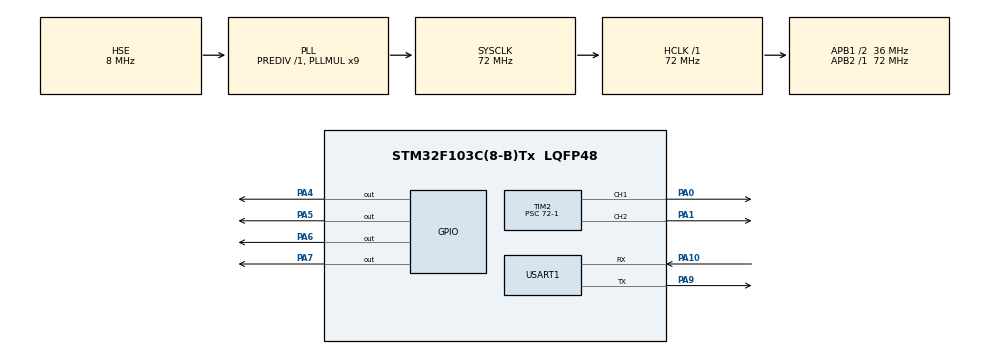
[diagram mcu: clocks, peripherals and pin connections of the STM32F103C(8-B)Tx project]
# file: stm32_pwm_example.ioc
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Mcu.Family=STM32F1
Mcu.Name=STM32F103C(8-B)Tx
Mcu.Package=LQFP48
NVIC.PriorityGroup=NVIC_PRIORITYGROUP_4
NVIC.USART1_IRQn=true\:0\:0\:false\:false\:true\:true\:true\:true
PA0-WKUP.Signal=S_TIM2_CH1_ETR
PA1.Signal=S_TIM2_CH2
PA10.Mode=Asynchronous
PA10.Signal=USART1_RX
PA13.Mode=Serial_Wire
PA13.Signal=SYS_JTMS-SWDIO
PA14.Mode=Serial_Wire
PA14.Signal=SYS_JTCK-SWCLK
PA4.GPIO_Speed=GPIO_SPEED_FREQ_HIGH
PA4.PinState=GPIO_PIN_SET
PA4.Signal=GPIO_Output
PA5.GPIO_Speed=GPIO_SPEED_FREQ_HIGH
PA5.Signal=GPIO_Output
PA6.GPIO_Speed=GPIO_SPEED_FREQ_HIGH
PA6.PinState=GPIO_PIN_SET
PA6.Signal=GPIO_Output
PA7.GPIO_Speed=GPIO_SPEED_FREQ_HIGH
PA7.Signal=GPIO_Output
PA9.Mode=Asynchronous
PA9.Signal=USART1_TX
PD0-OSC_IN.Mode=HSE-External-Oscillator
PD0-OSC_IN.Signal=RCC_OSC_IN
PD1-OSC_OUT.Mode=HSE-External-Oscillator
PD1-OSC_OUT.Signal=RCC_OSC_OUT
ProjectManager.HeapSize=0x200
ProjectManager.StackSize=0x400
ProjectManager.TargetToolchain=STM32CubeIDE
RCC.AHBFreq_Value=72000000
RCC.APB1CLKDivider=RCC_HCLK_DIV2
RCC.APB1Freq_Value=36000000
RCC.APB1TimFreq_Value=72000000
RCC.APB2Freq_Value=72000000
RCC.APB2TimFreq_Value=72000000
RCC.HCLKFreq_Value=72000000
RCC.PLLMUL=RCC_PLL_MUL9
RCC.PLLSourceVirtual=RCC_PLLSOURCE_HSE
RCC.SYSCLKFreq_VALUE=72000000
RCC.SYSCLKSource=RCC_SYSCLKSOURCE_PLLCLK
RCC.USBFreq_Value=72000000
SH.S_TIM2_CH1_ETR.0=TIM2_CH1,PWM Generation1 CH1
SH.S_TIM2_CH2.0=TIM2_CH2,PWM Generation2 CH2
TIM2.Channel-PWM\ Generation1\ CH1=TIM_CHANNEL_1
TIM2.Channel-PWM\ Generation2\ CH2=TIM_CHANNEL_2
TIM2.Period=100-1
TIM2.Prescaler=72-1
TIM2.Pulse-PWM\ Generation1\ CH1=50
USART1.VirtualMode=VM_ASYNC
VP_TIM2_VS_ClockSourceINT.Mode=Internal
board=custom

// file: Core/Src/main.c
/* USER CODE BEGIN Header */
/**
  ******************************************************************************
  * @file           : main.c
  * @brief          : Main program body
  ******************************************************************************
  * @attention
  *
  * Copyright (c) 2024 STMicroelectronics.
  * All rights reserved.
  *
  * This software is licensed under terms that can be found in the LICENSE file
  * in the root directory of this software component.
  * If no LICENSE file comes with this software, it is provided AS-IS.
  *
  ******************************************************************************
  */
/* USER CODE END Header */
#include "main.h"
#include "tim.h"
#include "usart.h"
#include "gpio.h"

/* USER CODE BEGIN PV */
char rx_buf[5] = {0};
int level = 1;
/* USER CODE END PV */

void SystemClock_Config(void);

int main(void)
{

  /* MCU Configuration--------------------------------------------------------*/

  /* Reset of all peripherals, Initializes the Flash interface and the Systick. */
  HAL_Init();

  /* Configure the system clock */
  SystemClock_Config();

  /* Initialize all configured peripherals */
  MX_GPIO_Init();
  MX_USART1_UART_Init();
  MX_TIM2_Init();
  /* USER CODE BEGIN 2 */
  HAL_TIM_PWM_Start(&htim2, TIM_CHANNEL_1);
  HAL_TIM_PWM_Start(&htim2, TIM_CHANNEL_2);

  //HAL_UART_Receive_IT(&huart1, (uint8_t*)rx_buf, 1);

  __HAL_TIM_SET_COMPARE(&htim2, TIM_CHANNEL_1, 0);
  __HAL_TIM_SET_COMPARE(&htim2, TIM_CHANNEL_2, 0);
  /* USER CODE END 2 */

  /* Infinite loop */
  while (1)
  {

    /* USER CODE BEGIN 3 */
	  HAL_StatusTypeDef state = HAL_UART_Receive(&huart1, (uint8_t*)rx_buf, 1, 300);
	  if (state == HAL_OK) {
		  if (rx_buf[0] == 'G') {
		  		HAL_GPIO_WritePin(GPIOA, GPIO_PIN_4, GPIO_PIN_RESET);
		  		HAL_GPIO_WritePin(GPIOA, GPIO_PIN_5, GPIO_PIN_SET);
		  		HAL_GPIO_WritePin(GPIOA, GPIO_PIN_6, GPIO_PIN_RESET);
		  		HAL_GPIO_WritePin(GPIOA, GPIO_PIN_7, GPIO_PIN_SET);
		  	} else if (rx_buf[0] == 'K') {
		  		HAL_GPIO_WritePin(GPIOA, GPIO_PIN_4, GPIO_PIN_SET);
		  		HAL_GPIO_WritePin(GPIOA, GPIO_PIN_5, GPIO_PIN_RESET);
		  		HAL_GPIO_WritePin(GPIOA, GPIO_PIN_6, GPIO_PIN_SET);
		  		HAL_GPIO_WritePin(GPIOA, GPIO_PIN_7, GPIO_PIN_RESET);
		  	} else if (rx_buf[0] == 'H') {
		  		HAL_GPIO_WritePin(GPIOA, GPIO_PIN_4, GPIO_PIN_RESET);
		  		HAL_GPIO_WritePin(GPIOA, GPIO_PIN_5, GPIO_PIN_SET);
		  		HAL_GPIO_WritePin(GPIOA, GPIO_PIN_6, GPIO_PIN_SET);
		  		HAL_GPIO_WritePin(GPIOA, GPIO_PIN_7, GPIO_PIN_RESET);
		  	} else if (rx_buf[0] == 'J') {
		  		HAL_GPIO_WritePin(GPIOA, GPIO_PIN_4, GPIO_PIN_SET);
		  		HAL_GPIO_WritePin(GPIOA, GPIO_PIN_5, GPIO_PIN_RESET);
		  		HAL_GPIO_WritePin(GPIOA, GPIO_PIN_6, GPIO_PIN_RESET);
		  		HAL_GPIO_WritePin(GPIOA, GPIO_PIN_7, GPIO_PIN_SET);
		  	} else if (rx_buf[0] == 'A') {
		  		if (level == 1) {
		  			__HAL_TIM_SET_COMPARE(&htim2, TIM_CHANNEL_1, 90);
		  			__HAL_TIM_SET_COMPARE(&htim2, TIM_CHANNEL_2, 90);
		  			level = 2;
		  		} else if (level == 2) {
		  			__HAL_TIM_SET_COMPARE(&htim2, TIM_CHANNEL_1, 100);
		  			__HAL_TIM_SET_COMPARE(&htim2, TIM_CHANNEL_2, 100);
		  			level = 3;
		  		} else {
		  			__HAL_TIM_SET_COMPARE(&htim2, TIM_CHANNEL_1, 80);
		  			__HAL_TIM_SET_COMPARE(&htim2, TIM_CHANNEL_2, 80);
		  			level = 1;
		  		}

		  	} else if (rx_buf[0] == 'I') {
		  		HAL_GPIO_WritePin(GPIOA, GPIO_PIN_4, GPIO_PIN_RESET);
		  		HAL_GPIO_WritePin(GPIOA, GPIO_PIN_5, GPIO_PIN_RESET);
		  		HAL_GPIO_WritePin(GPIOA, GPIO_PIN_6, GPIO_PIN_RESET);
		  		HAL_GPIO_WritePin(GPIOA, GPIO_PIN_7, GPIO_PIN_RESET);
		  	}
	  } else {
		  HAL_GPIO_WritePin(GPIOA, GPIO_PIN_4, GPIO_PIN_RESET);
		  HAL_GPIO_WritePin(GPIOA, GPIO_PIN_5, GPIO_PIN_RESET);
		  HAL_GPIO_WritePin(GPIOA, GPIO_PIN_6, GPIO_PIN_RESET);
		  HAL_GPIO_WritePin(GPIOA, GPIO_PIN_7, GPIO_PIN_RESET);
	  }
  }
  /* USER CODE END 3 */
}

void SystemClock_Config(void)
{
  RCC_OscInitTypeDef RCC_OscInitStruct = {0};
  RCC_ClkInitTypeDef RCC_ClkInitStruct = {0};

  /** Initializes the RCC Oscillators according to the specified parameters
  * in the RCC_OscInitTypeDef structure.
  */
  RCC_OscInitStruct.OscillatorType = RCC_OSCILLATORTYPE_HSE;
  RCC_OscInitStruct.HSEState = RCC_HSE_ON;
  RCC_OscInitStruct.HSEPredivValue = RCC_HSE_PREDIV_DIV1;
  RCC_OscInitStruct.HSIState = RCC_HSI_ON;
  RCC_OscInitStruct.PLL.PLLState = RCC_PLL_ON;
  RCC_OscInitStruct.PLL.PLLSource = RCC_PLLSOURCE_HSE;
  RCC_OscInitStruct.PLL.PLLMUL = RCC_PLL_MUL9;
  if (HAL_RCC_OscConfig(&RCC_OscInitStruct) != HAL_OK)
  {
    Error_Handler();
  }

  /** Initializes the CPU, AHB and APB buses clocks
  */
  RCC_ClkInitStruct.ClockType = RCC_CLOCKTYPE_HCLK|RCC_CLOCKTYPE_SYSCLK
                              |RCC_CLOCKTYPE_PCLK1|RCC_CLOCKTYPE_PCLK2;
  RCC_ClkInitStruct.SYSCLKSource = RCC_SYSCLKSOURCE_PLLCLK;
  RCC_ClkInitStruct.AHBCLKDivider = RCC_SYSCLK_DIV1;
  RCC_ClkInitStruct.APB1CLKDivider = RCC_HCLK_DIV2;
  RCC_ClkInitStruct.APB2CLKDivider = RCC_HCLK_DIV1;

  if (HAL_RCC_ClockConfig(&RCC_ClkInitStruct, FLASH_LATENCY_2) != HAL_OK)
  {
    Error_Handler();
  }
}

/* USER CODE BEGIN 4 */
void HAL_UART_RxCpltCallback(UART_HandleTypeDef *huart) {
  if (huart->Instance == USART1) {
	if (rx_buf[0] == 'G') {
		HAL_GPIO_WritePin(GPIOA, GPIO_PIN_4, GPIO_PIN_RESET);
		HAL_GPIO_WritePin(GPIOA, GPIO_PIN_5, GPIO_PIN_SET);
		HAL_GPIO_WritePin(GPIOA, GPIO_PIN_6, GPIO_PIN_RESET);
		HAL_GPIO_WritePin(GPIOA, GPIO_PIN_7, GPIO_PIN_SET);
	} else if (rx_buf[0] == 'K') {
		HAL_GPIO_WritePin(GPIOA, GPIO_PIN_4, GPIO_PIN_SET);
		HAL_GPIO_WritePin(GPIOA, GPIO_PIN_5, GPIO_PIN_RESET);
		HAL_GPIO_WritePin(GPIOA, GPIO_PIN_6, GPIO_PIN_SET);
		HAL_GPIO_WritePin(GPIOA, GPIO_PIN_7, GPIO_PIN_RESET);
	} else if (rx_buf[0] == 'H') {
		HAL_GPIO_WritePin(GPIOA, GPIO_PIN_4, GPIO_PIN_RESET);
		HAL_GPIO_WritePin(GPIOA, GPIO_PIN_5, GPIO_PIN_SET);
		HAL_GPIO_WritePin(GPIOA, GPIO_PIN_6, GPIO_PIN_SET);
		HAL_GPIO_WritePin(GPIOA, GPIO_PIN_7, GPIO_PIN_RESET);
	} else if (rx_buf[0] == 'J') {
		HAL_GPIO_WritePin(GPIOA, GPIO_PIN_4, GPIO_PIN_SET);
		HAL_GPIO_WritePin(GPIOA, GPIO_PIN_5, GPIO_PIN_RESET);
		HAL_GPIO_WritePin(GPIOA, GPIO_PIN_6, GPIO_PIN_RESET);
		HAL_GPIO_WritePin(GPIOA, GPIO_PIN_7, GPIO_PIN_SET);
	} else if (rx_buf[0] == 'A') {
		if (level == 1) {
			__HAL_TIM_SET_COMPARE(&htim2, TIM_CHANNEL_1, 90);
			__HAL_TIM_SET_COMPARE(&htim2, TIM_CHANNEL_2, 90);
			level = 2;
		} else if (level == 2) {
			__HAL_TIM_SET_COMPARE(&htim2, TIM_CHANNEL_1, 100);
			__HAL_TIM_SET_COMPARE(&htim2, TIM_CHANNEL_2, 100);
			level = 3;
		} else {
			__HAL_TIM_SET_COMPARE(&htim2, TIM_CHANNEL_1, 80);
			__HAL_TIM_SET_COMPARE(&htim2, TIM_CHANNEL_2, 80);
			level = 1;
		}

	} else if (rx_buf[0] == 'I') {
		HAL_GPIO_WritePin(GPIOA, GPIO_PIN_4, GPIO_PIN_RESET);
		HAL_GPIO_WritePin(GPIOA, GPIO_PIN_5, GPIO_PIN_RESET);
		HAL_GPIO_WritePin(GPIOA, GPIO_PIN_6, GPIO_PIN_RESET);
		HAL_GPIO_WritePin(GPIOA, GPIO_PIN_7, GPIO_PIN_RESET);
	}
	HAL_UART_Receive_IT(&huart1, (uint8_t*)rx_buf, 1);
  }
}
/* USER CODE END 4 */

void Error_Handler(void)
{
  __disable_irq();
  while (1)
  {
  }
}
